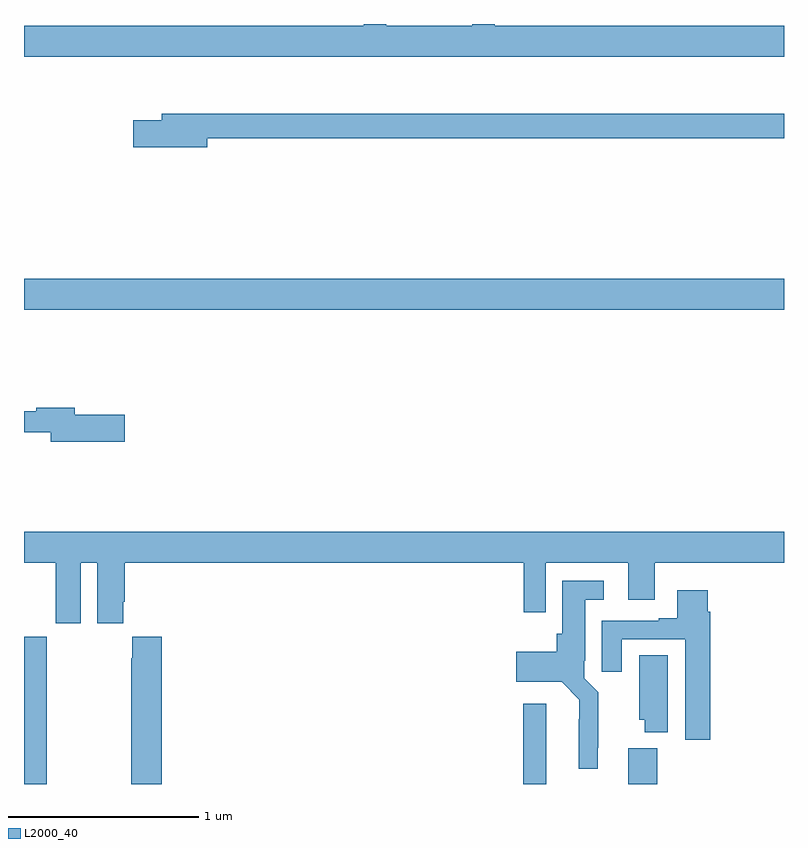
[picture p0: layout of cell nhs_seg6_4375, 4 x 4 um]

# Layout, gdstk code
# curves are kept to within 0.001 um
import gdstk
lib = gdstk.Library(unit=1e-6, precision=1e-09)
def R(c, l, rs):  # rectangles x0, y0, x1, y1
    for r in rs: c.add(gdstk.rectangle(r[:2], r[2:], *l))
def P(c, l, *ps):  # polygons
    for p in ps: c.add(gdstk.Polygon(p, *l))
L2000_40 = (2000, 40)

nhs_seg6_4375 = lib.new_cell('nhs_seg6_4375')
R(nhs_seg6_4375, L2000_40, [(369,951.5,369.12,952.276), (371.627,951.5,371.749,951.922), (372.179,951.5,372.332,951.688), (369,953.996,373,954.16)])
P(nhs_seg6_4375, L2000_40, [(373,955.492),(371.477,955.492),(371.477,955.5),(371.36,955.5),(371.36,955.492),(370.907,955.492),(370.907,955.5),(370.789,955.5),(370.789,955.492),(369,955.492),(369,955.328),(373,955.328)],
  [(369.964,954.898),(373,954.898),(373,955.027),(369.725,955.027),(369.725,954.993),(369.576,954.993),(369.576,954.851),(369.964,954.851)],
  [(369.529,953.444),(369.268,953.444),(369.268,953.48),(369.064,953.48),(369.064,953.461),(369,953.461),(369,953.352),(369.14,953.352),(369.14,953.302),(369.529,953.302)],
  [(369.298,952.664),(369.386,952.664),(369.386,952.347),(369.523,952.347),(369.523,952.459),(369.53,952.459),(369.53,952.664),(371.629,952.664),(371.629,952.404),(371.745,952.404),(371.745,952.664),(372.179,952.664),(372.179,952.47),(372.319,952.47),(372.319,952.664),(373,952.664),(373,952.828),(369,952.828),(369,952.664),(369.167,952.664),(369.167,952.347),(369.298,952.347)],
  [(372.019,951.691),(372.023,951.691),(372.023,951.982),(371.949,952.056),(371.949,952.15),(371.953,952.15),(371.953,952.469),(372.052,952.469),(372.052,952.57),(371.834,952.57),(371.834,952.29),(371.804,952.29),(371.804,952.195),(371.592,952.195),(371.592,952.037),(371.829,952.037),(371.922,951.944),(371.921,951.581),(372.019,951.581)],
  [(372.611,952.406),(372.598,952.406),(372.598,952.519),(372.437,952.519),(372.437,952.372),(372.341,952.372),(372.341,952.359),(372.041,952.359),(372.041,952.092),(372.145,952.092),(372.145,952.263),(372.479,952.263),(372.479,951.732),(372.611,951.732)],
  [(369.725,952.276),(369.569,952.276),(369.569,952.163),(369.565,952.163),(369.565,951.5),(369.725,951.5)],
  [(372.388,952.178),(372.239,952.178),(372.239,951.837),(372.266,951.837),(372.266,951.773),(372.388,951.773)])

lib.write_gds('nhs_seg6_4375.gds')
